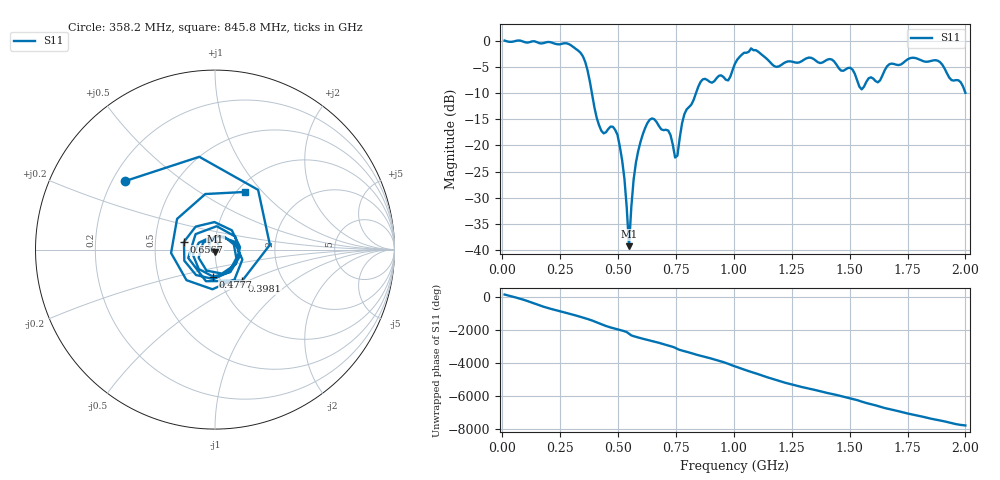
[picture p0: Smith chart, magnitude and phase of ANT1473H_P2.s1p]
!Created with skrf (http://scikit-rf.org).
# Hz S RI R 50.0
!freq ReS11 ImS11
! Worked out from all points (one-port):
!   201 points, 10 MHz to 2 GHz, reference 50 ohm
!   lowest |S11| = -39.3 dB at 547.3 MHz (marker M1), VSWR 1.02, Z = 50.2 - j1.07 ohm
!   |S11| at or under -10 dB: 387.1 MHz to 836.3 MHz (449.2 MHz wide, 73.4 % of centre)
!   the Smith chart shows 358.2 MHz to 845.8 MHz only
!   S11 on the Smith chart (normalised r, x): 358.2 MHz: 0.25, +0.32; 398.1 MHz: 1.26, -0.46; 477.6 MHz: 0.94, -0.29; 656.8 MHz: 0.70, +0.06; 845.8 MHz: 1.09, +0.81
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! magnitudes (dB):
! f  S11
! 10 MHz  0.1
! 258.8 MHz  -0.5
! 358.2 MHz  -4.0
! 398.1 MHz  -12.7
! 437.9 MHz  -17.7
! 477.6 MHz  -16.4
! 507.5 MHz  -20.2
! 527.4 MHz  -26.4
! 547.3 MHz  -39.3
! 567.2 MHz  -26.5
! 587.1 MHz  -21.0
! 626.9 MHz  -15.7
! 656.8 MHz  -15.0
! 716.5 MHz  -17.1
! 746.3 MHz  -22.3
! 756.2 MHz  -22.0
! 786.1 MHz  -14.0
! 845.8 MHz  -8.8
! 975.1 MHz  -7.5
! 1.005 GHz  -4.3
! 1.075 GHz  -1.4
! 1.184 GHz  -4.9
! 1.254 GHz  -4.0
! 1.502 GHz  -5.1
! 1.552 GHz  -9.3
! 1.751 GHz  -3.5
! 1.881 GHz  -3.8
! 2 GHz  -9.9
